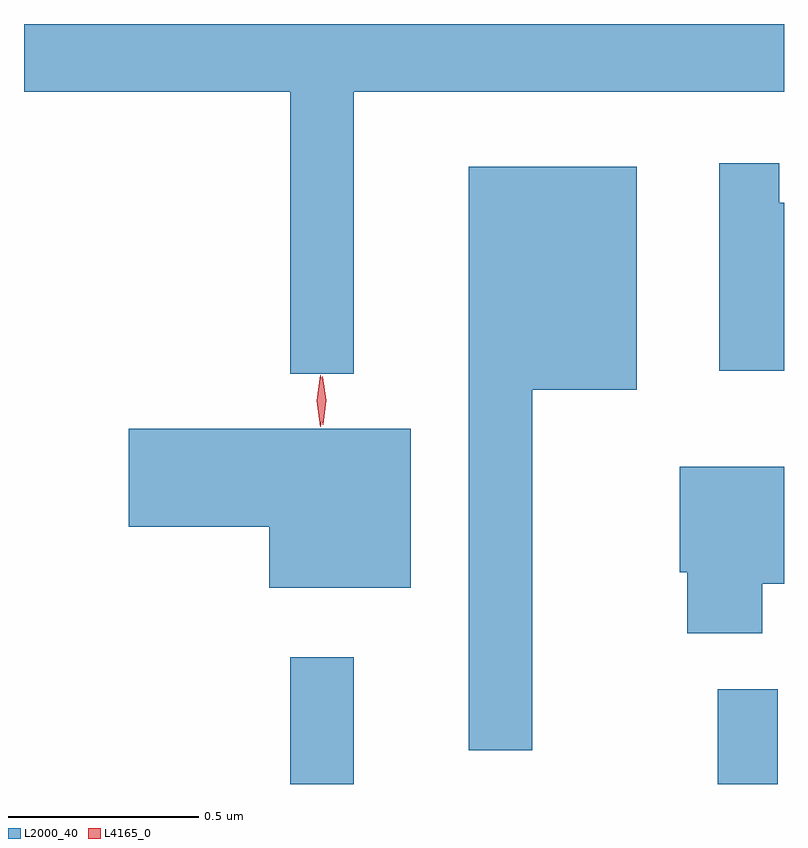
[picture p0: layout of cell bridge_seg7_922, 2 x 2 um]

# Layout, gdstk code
import gdstk
lib = gdstk.Library(unit=1e-6, precision=1e-09)
def R(c, l, rs):  # rectangles x0, y0, x1, y1
    for r in rs: c.add(gdstk.rectangle(r[:2], r[2:], *l))
def P(c, l, *ps):  # polygons
    for p in ps: c.add(gdstk.Polygon(p, *l))
L2000_40 = (2000, 40)
L4165_0 = (4165, 0)

bridge_seg7_922 = lib.new_cell('bridge_seg7_922')
R(bridge_seg7_922, L2000_40, [(205.361,1699.174,205.529,1699.508), (206.486,1699.174,206.644,1699.423)])
P(bridge_seg7_922, L2000_40, [(205.529,1700.996),(206.661,1700.996),(206.661,1701.174),(204.661,1701.174),(204.661,1700.996),(205.361,1700.996),(205.361,1700.253),(205.529,1700.253)],
  [(206.661,1700.704),(206.649,1700.704),(206.649,1700.808),(206.491,1700.808),(206.491,1700.261),(206.661,1700.261)],
  [(205.999,1700.211),(206.274,1700.211),(206.274,1700.799),(205.831,1700.799),(205.831,1699.263),(205.999,1699.263)],
  [(205.679,1700.109),(204.936,1700.109),(204.936,1699.851),(205.306,1699.851),(205.306,1699.691),(205.679,1699.691)],
  [(206.604,1699.701),(206.661,1699.701),(206.661,1700.009),(206.386,1700.009),(206.386,1699.731),(206.406,1699.731),(206.406,1699.571),(206.604,1699.571)])
P(bridge_seg7_922, L4165_0, [(205.447,1700.12),(205.447,1700.12),(205.437,1700.184),(205.446,1700.246),(205.447,1700.247),(205.447,1700.246),(205.457,1700.184),(205.448,1700.12)],
  [(205.441,1700.114),(205.432,1700.182),(205.441,1700.25),(205.442,1700.25),(205.442,1700.25),(205.452,1700.182),(205.442,1700.114),(205.442,1700.114)])

lib.write_gds('bridge_seg7_922.gds')
